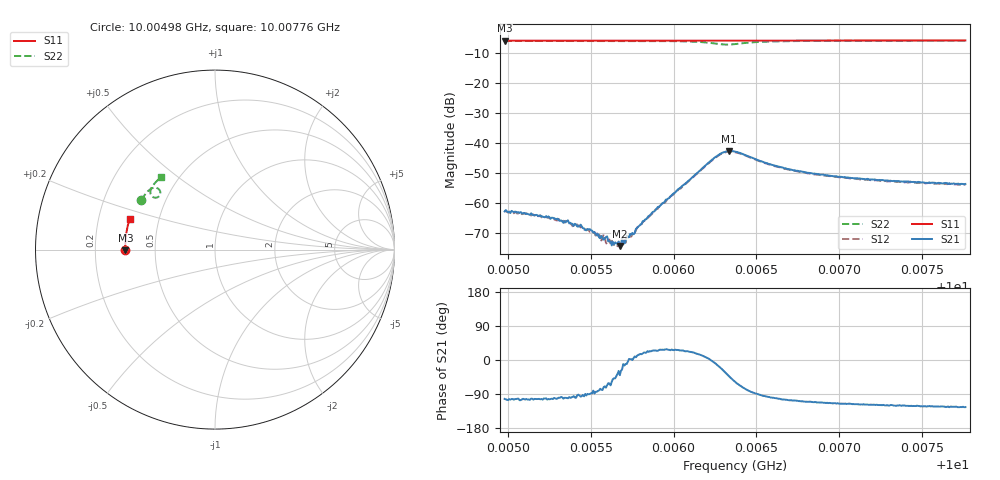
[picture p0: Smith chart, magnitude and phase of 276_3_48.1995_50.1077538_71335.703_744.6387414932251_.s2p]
#  HZ  S  RI  R  50.00
! Rohde & Schwarz Vector Network Analyzer
! Rohde-Schwarz,ZNB20-2Port,1311601062101988,3.16
! Created: UTC 3/20/2024, 11:48:23 AM
! freq[Hz]  re:S11  im:S11  re:S21  im:S21  re:S12  im:S12  re:S22  im:S22
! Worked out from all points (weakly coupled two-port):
!   401 points, 10.00498 GHz to 10.00776 GHz, reference 50 ohm
!   highest |S21| = -42.85 dB at 10.00634 GHz (marker M1); lowest = -74.4 dB at 10.00568 GHz (marker M2)
!   lowest |S11| = -6.0 dB at 10.00498 GHz (marker M3), VSWR 3.00, Z = 16.7 - j0.153 ohm
!   |S11| at or under -10 dB: nowhere
!   |S22| runs from -7.3 to -6.0 dB; largest |S21 - S12| = 0.00042
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1.000498e10  -0.4995 -0.00344  -0.000156 -0.000692  -0.000135 -0.000725  -0.4098 0.2769
1.0005258e10  -0.4998 0.0146  -0.000121 -0.000527  -8.79e-05 -0.00053  -0.3992 0.2932
1.0005418e10  -0.4999 0.025  -2.13e-05 -0.000398  -5.32e-05 -0.000418  -0.3925 0.3029
1.0005446e10  -0.4998 0.0269  -3.66e-05 -0.000397  8.95e-07 -0.000391  -0.3913 0.3045
1.0005536e10  -0.4996 0.0326  3.13e-05 -0.000282  4.52e-05 -0.000318  -0.3871 0.3101
1.0005564e10  -0.4995 0.0345  5.56e-05 -0.000271  6.17e-05 -0.000224  -0.3857 0.3116
1.0005606e10  -0.4994 0.0372  0.000109 -0.000198  0.000108 -0.000204  -0.3837 0.3143
1.0005627e10  -0.4993 0.0385  0.000104 -0.000162  0.000171 -0.000158  -0.3826 0.3156
1.0005647e10  -0.4994 0.0399  0.000144 -0.000162  0.000151 -0.000133  -0.3814 0.317
1.0005675e10  -0.4992 0.0418  0.000145 -0.000122  0.00017 -0.000127  -0.3801 0.3185
1.0005689e10  -0.4992 0.0427  0.000236 -0.000107  0.000236 -6.98e-05  -0.3793 0.3195
1.0005752e10  -0.499 0.0467  0.000312 2.62e-08  0.000298 3.13e-05  -0.3756 0.3236
1.0005793e10  -0.4987 0.0495  0.000397 0.000104  0.00039 0.000129  -0.3729 0.3262
1.0005912e10  -0.4982 0.0571  0.000753 0.000373  0.000745 0.000417  -0.364 0.3339
1.0006246e10  -0.4954 0.0784  0.00552 -0.000656  0.00539 -0.000358  -0.3077 0.3296
1.0006294e10  -0.4948 0.0814  0.00611 -0.00289  0.00609 -0.00251  -0.3051 0.3095
1.0006336e10  -0.4945 0.0838  0.00525 -0.00494  0.00538 -0.00459  -0.316 0.2939
1.0006371e10  -0.4943 0.086  0.00381 -0.00595  0.00403 -0.00563  -0.3306 0.2892
1.0006586e10  -0.4928 0.0996  -0.000672 -0.00428  -0.00042 -0.00424  -0.36 0.3254
1.0006837e10  -0.4899 0.1156  -0.00108 -0.00288  -0.000937 -0.00287  -0.3499 0.3513
1.0007303e10  -0.483 0.1451  -0.00116 -0.00199  -0.00103 -0.002  -0.3264 0.3798
1.0007762e10  -0.4745 0.1732  -0.00115 -0.00168  -0.00105 -0.00171  -0.3029 0.4017
